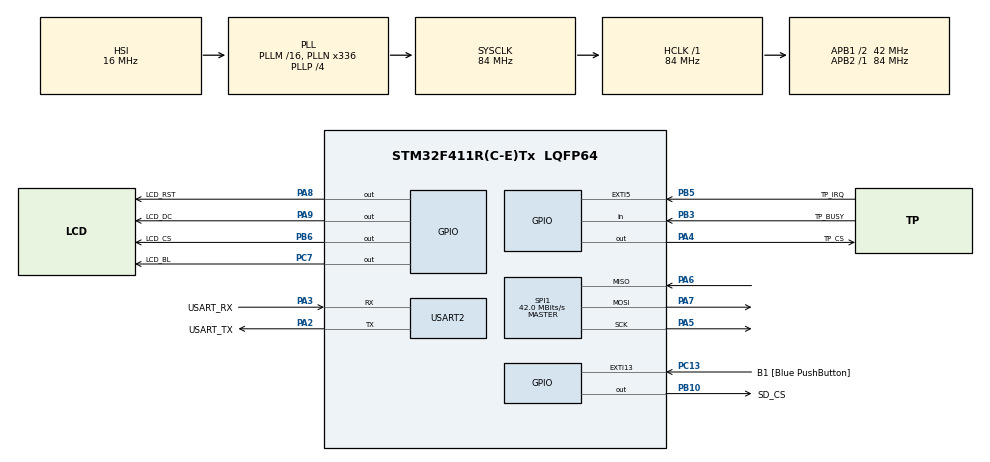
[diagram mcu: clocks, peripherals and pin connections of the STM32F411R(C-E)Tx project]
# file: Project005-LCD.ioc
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Mcu.Family=STM32F4
Mcu.Name=STM32F411R(C-E)Tx
Mcu.Package=LQFP64
NVIC.EXTI9_5_IRQn=true\:0\:0\:false\:false\:true\:true\:true\:true
NVIC.PriorityGroup=NVIC_PRIORITYGROUP_0
NVIC.TIM3_IRQn=true\:0\:0\:false\:false\:true\:true\:true\:true
NVIC.USART2_IRQn=true\:0\:0\:false\:false\:true\:true\:true\:true
PA13.GPIO_Label=TMS
PA13.Signal=SYS_JTMS-SWDIO
PA14.GPIO_Label=TCK
PA14.Signal=SYS_JTCK-SWCLK
PA2.GPIO_Label=USART_TX
PA2.Mode=Asynchronous
PA2.Signal=USART2_TX
PA3.GPIO_Label=USART_RX
PA3.Mode=Asynchronous
PA3.Signal=USART2_RX
PA4.GPIO_Label=TP_CS
PA4.Signal=GPIO_Output
PA5.Mode=Full_Duplex_Master
PA5.Signal=SPI1_SCK
PA6.Mode=Full_Duplex_Master
PA6.Signal=SPI1_MISO
PA7.Mode=Full_Duplex_Master
PA7.Signal=SPI1_MOSI
PA8.GPIO_Label=LCD_RST
PA8.Signal=GPIO_Output
PA9.GPIO_Label=LCD_DC
PA9.Signal=GPIO_Output
PB10.GPIO_Label=SD_CS
PB10.Signal=GPIO_Output
PB3.GPIO_Label=TP_BUSY
PB3.Signal=GPIO_Input
PB5.GPIO_Label=TP_IRQ
PB5.GPIO_ModeDefaultEXTI=GPIO_MODE_IT_RISING_FALLING
PB5.Signal=GPXTI5
PB6.GPIO_Label=LCD_CS
PB6.Signal=GPIO_Output
PC13-ANTI_TAMP.GPIO_Label=B1 [Blue PushButton]
PC13-ANTI_TAMP.GPIO_ModeDefaultEXTI=GPIO_MODE_IT_FALLING
PC13-ANTI_TAMP.Signal=GPXTI13
PC14-OSC32_IN.Signal=RCC_OSC32_IN
PC15-OSC32_OUT.Signal=RCC_OSC32_OUT
PC7.GPIO_Label=LCD_BL
PC7.Signal=GPIO_Output
PH0\ -\ OSC_IN.Signal=RCC_OSC_IN
PH1\ -\ OSC_OUT.Signal=RCC_OSC_OUT
ProjectManager.HeapSize=0x200
ProjectManager.StackSize=0x400
ProjectManager.TargetToolchain=STM32CubeIDE
RCC.48MHZClocksFreq_Value=84000000
RCC.AHBFreq_Value=84000000
RCC.APB1CLKDivider=RCC_HCLK_DIV2
RCC.APB1Freq_Value=42000000
RCC.APB1TimFreq_Value=84000000
RCC.APB2Freq_Value=84000000
RCC.APB2TimFreq_Value=84000000
RCC.CortexFreq_Value=84000000
RCC.FLatency-AdvancedSettings=FLASH_LATENCY_2
RCC.HCLKFreq_Value=84000000
RCC.HSE_VALUE=8000000
RCC.HSI_VALUE=16000000
RCC.LSE_VALUE=32768
RCC.PLLN=336
RCC.PLLP=RCC_PLLP_DIV4
RCC.SYSCLKFreq_VALUE=84000000
RCC.SYSCLKSource=RCC_SYSCLKSOURCE_PLLCLK
RCC.VCOOutputFreq_Value=336000000
SPI1.CalculateBaudRate=42.0 MBits/s
SPI1.Direction=SPI_DIRECTION_2LINES
SPI1.Mode=SPI_MODE_MASTER
SPI1.VirtualType=VM_MASTER
TIM3.Period=10000-1
TIM3.Prescaler=8400-1
USART2.VirtualMode=VM_ASYNC
VP_TIM3_VS_ClockSourceINT.Mode=Internal
board=NUCLEO-F411RE

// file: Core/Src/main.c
/* USER CODE BEGIN Header */
/**
  ******************************************************************************
  * @file           : main.c
  * @brief          : Main program body
  ******************************************************************************
  * @attention
  *
  * Copyright (c) 2025 STMicroelectronics.
  * All rights reserved.
  *
  * This software is licensed under terms that can be found in the LICENSE file
  * in the root directory of this software component.
  * If no LICENSE file comes with this software, it is provided AS-IS.
  *
  ******************************************************************************
  */
/* USER CODE END Header */
#include "main.h"

/* USER CODE BEGIN Includes */

#include "lcd_driver.h"
#include "lcd_gui.h"
#include "lcd_touch.h"
#include <stdbool.h>
#include <stdio.h>
#include <string.h>

bool screenState = false;

int cur_Button;
void Load_Touch_Draw(void)
{
    LCD_Clear(BACKGROUND_COLOR);

    if(screenState == false) {

        Gui_fill_color(0, 0, lcddev.width, lcddev.height / 3, BLUE);
        Gui_draw_str(30, 50, "The First Clinic", &Font24, RED, BLUE);

        Gui_fill_color(0, lcddev.height / 3, lcddev.width, lcddev.height * 2 / 3, GREEN);
        Gui_draw_str(30, lcddev.height / 3 + 50, "The Second Clinic", &Font24, RED, GREEN);

        Gui_fill_color(0, lcddev.height * 2 / 3, lcddev.width, lcddev.height, RED);
        Gui_draw_str(30, lcddev.height * 2 / 3 + 50, "Restroom", &Font24, WHITE, RED);
    }
    else
    {
        if (cur_Button == 1) {
            Gui_fill_color(0, 0, lcddev.width, lcddev.height, BLUE);
            Gui_draw_str(30, lcddev.height / 2, "Going to the First Clinic", &Font24, BLACK, WHITE);
        } else if (cur_Button == 2) {
            Gui_fill_color(0, 0, lcddev.width, lcddev.height, GREEN);
            Gui_draw_str(30, lcddev.height / 2, "Going to the Second Clinic", &Font24, BLACK, WHITE);
        } else if (cur_Button == 3) {
            Gui_fill_color(0, 0, lcddev.width, lcddev.height, RED);
            Gui_draw_str(30, lcddev.height / 2, "Going to the Restroom", &Font24, BLACK, WHITE);
        }

        Gui_fill_color(10, 65, 90, 100, BLACK);
        Gui_draw_str(10, 70, "Back", &Font24, WHITE, BLACK);
    }
}

void TP_test(void)
{
    TP_Scan(0);

    if (tp_dev.statu & TP_PRESS_DOWN) {
        if (tp_dev.x[0] < lcddev.width && tp_dev.y[0] < lcddev.height) {
            if (!screenState) {

                if (tp_dev.x[0] > 0 && tp_dev.x[0] < lcddev.width && tp_dev.y[0] > 0 && tp_dev.y[0] < lcddev.height / 3) {
                    printf("The First Clinic Pressed\n");
                    screenState = true;
                    cur_Button = 1;
                    Load_Touch_Draw();
                    HAL_Delay(500);
                }

                else if (tp_dev.x[0] > 0 && tp_dev.x[0] < lcddev.width && tp_dev.y[0] > lcddev.height / 3 && tp_dev.y[0] < lcddev.height * 2 / 3) {
                    printf("The Second Clinic Pressed\n");
                    screenState = true;
                    cur_Button = 2;
                    Load_Touch_Draw();
                    HAL_Delay(500);
                }

                else if (tp_dev.x[0] > 0 && tp_dev.x[0] < lcddev.width && tp_dev.y[0] > lcddev.height * 2 / 3 && tp_dev.y[0] < lcddev.height) {
                    printf("Restroom Pressed\n");
                    screenState = true;
                    cur_Button = 3;
                    Load_Touch_Draw();
                    HAL_Delay(500);
                }
            } else {

                if (tp_dev.x[0]>10 && tp_dev.x[0]<90 && tp_dev.y[0]>60 && tp_dev.y[0]<100) {
                    printf("Back Pressed\n");
                    screenState = false;
                    Load_Touch_Draw();
                }
            }
        }
    }
}

/* USER CODE END Includes */

SPI_HandleTypeDef hspi1;

TIM_HandleTypeDef htim3;

UART_HandleTypeDef huart2;

void SystemClock_Config(void);
static void MX_GPIO_Init(void);
static void MX_TIM3_Init(void);
static void MX_SPI1_Init(void);
static void MX_USART2_UART_Init(void);

int main(void)
{

  /* MCU Configuration--------------------------------------------------------*/

  /* Reset of all peripherals, Initializes the Flash interface and the Systick. */
  HAL_Init();

  /* Configure the system clock */
  SystemClock_Config();

  /* Initialize all configured peripherals */
  MX_GPIO_Init();
  MX_TIM3_Init();
  MX_SPI1_Init();
  MX_USART2_UART_Init();
  /* USER CODE BEGIN 2 */

  printf("4Inch LCD Init...\r\n");

  TP_Init();
  Lcd_Init();

  HAL_Delay(2000);

  printf("Init Touch Pad...\r\n");
  Load_Touch_Draw();

  /* USER CODE END 2 */

  /* Infinite loop */
  /* USER CODE BEGIN WHILE */
  ProgramStart("LCD Test...");
  HAL_TIM_Base_Start(&htim3);
  HAL_TIM_Base_Start_IT(&htim3);
  while (1)
  {
    /* USER CODE END WHILE */

    /* USER CODE BEGIN 3 */
	  TP_test();
  }
  /* USER CODE END 3 */
}

void SystemClock_Config(void)
{
  RCC_OscInitTypeDef RCC_OscInitStruct = {0};
  RCC_ClkInitTypeDef RCC_ClkInitStruct = {0};

  /** Configure the main internal regulator output voltage
  */
  __HAL_RCC_PWR_CLK_ENABLE();
  __HAL_PWR_VOLTAGESCALING_CONFIG(PWR_REGULATOR_VOLTAGE_SCALE1);

  /** Initializes the RCC Oscillators according to the specified parameters
  * in the RCC_OscInitTypeDef structure.
  */
  RCC_OscInitStruct.OscillatorType = RCC_OSCILLATORTYPE_HSI;
  RCC_OscInitStruct.HSIState = RCC_HSI_ON;
  RCC_OscInitStruct.HSICalibrationValue = RCC_HSICALIBRATION_DEFAULT;
  RCC_OscInitStruct.PLL.PLLState = RCC_PLL_ON;
  RCC_OscInitStruct.PLL.PLLSource = RCC_PLLSOURCE_HSI;
  RCC_OscInitStruct.PLL.PLLM = 16;
  RCC_OscInitStruct.PLL.PLLN = 336;
  RCC_OscInitStruct.PLL.PLLP = RCC_PLLP_DIV4;
  RCC_OscInitStruct.PLL.PLLQ = 4;
  if (HAL_RCC_OscConfig(&RCC_OscInitStruct) != HAL_OK)
  {
    Error_Handler();
  }

  /** Initializes the CPU, AHB and APB buses clocks
  */
  RCC_ClkInitStruct.ClockType = RCC_CLOCKTYPE_HCLK|RCC_CLOCKTYPE_SYSCLK
                              |RCC_CLOCKTYPE_PCLK1|RCC_CLOCKTYPE_PCLK2;
  RCC_ClkInitStruct.SYSCLKSource = RCC_SYSCLKSOURCE_PLLCLK;
  RCC_ClkInitStruct.AHBCLKDivider = RCC_SYSCLK_DIV1;
  RCC_ClkInitStruct.APB1CLKDivider = RCC_HCLK_DIV2;
  RCC_ClkInitStruct.APB2CLKDivider = RCC_HCLK_DIV1;

  if (HAL_RCC_ClockConfig(&RCC_ClkInitStruct, FLASH_LATENCY_2) != HAL_OK)
  {
    Error_Handler();
  }
}

static void MX_SPI1_Init(void)
{

  /* SPI1 parameter configuration*/
  hspi1.Instance = SPI1;
  hspi1.Init.Mode = SPI_MODE_MASTER;
  hspi1.Init.Direction = SPI_DIRECTION_2LINES;
  hspi1.Init.DataSize = SPI_DATASIZE_8BIT;
  hspi1.Init.CLKPolarity = SPI_POLARITY_LOW;
  hspi1.Init.CLKPhase = SPI_PHASE_1EDGE;
  hspi1.Init.NSS = SPI_NSS_SOFT;
  hspi1.Init.BaudRatePrescaler = SPI_BAUDRATEPRESCALER_2;
  hspi1.Init.FirstBit = SPI_FIRSTBIT_MSB;
  hspi1.Init.TIMode = SPI_TIMODE_DISABLE;
  hspi1.Init.CRCCalculation = SPI_CRCCALCULATION_DISABLE;
  hspi1.Init.CRCPolynomial = 10;
  if (HAL_SPI_Init(&hspi1) != HAL_OK)
  {
    Error_Handler();
  }

}

static void MX_TIM3_Init(void)
{

  TIM_ClockConfigTypeDef sClockSourceConfig = {0};
  TIM_MasterConfigTypeDef sMasterConfig = {0};

  htim3.Instance = TIM3;
  htim3.Init.Prescaler = 8400-1;
  htim3.Init.CounterMode = TIM_COUNTERMODE_UP;
  htim3.Init.Period = 10000-1;
  htim3.Init.ClockDivision = TIM_CLOCKDIVISION_DIV1;
  htim3.Init.AutoReloadPreload = TIM_AUTORELOAD_PRELOAD_DISABLE;
  if (HAL_TIM_Base_Init(&htim3) != HAL_OK)
  {
    Error_Handler();
  }
  sClockSourceConfig.ClockSource = TIM_CLOCKSOURCE_INTERNAL;
  if (HAL_TIM_ConfigClockSource(&htim3, &sClockSourceConfig) != HAL_OK)
  {
    Error_Handler();
  }
  sMasterConfig.MasterOutputTrigger = TIM_TRGO_RESET;
  sMasterConfig.MasterSlaveMode = TIM_MASTERSLAVEMODE_DISABLE;
  if (HAL_TIMEx_MasterConfigSynchronization(&htim3, &sMasterConfig) != HAL_OK)
  {
    Error_Handler();
  }

}

static void MX_USART2_UART_Init(void)
{

  huart2.Instance = USART2;
  huart2.Init.BaudRate = 115200;
  huart2.Init.WordLength = UART_WORDLENGTH_8B;
  huart2.Init.StopBits = UART_STOPBITS_1;
  huart2.Init.Parity = UART_PARITY_NONE;
  huart2.Init.Mode = UART_MODE_TX_RX;
  huart2.Init.HwFlowCtl = UART_HWCONTROL_NONE;
  huart2.Init.OverSampling = UART_OVERSAMPLING_16;
  if (HAL_UART_Init(&huart2) != HAL_OK)
  {
    Error_Handler();
  }

}

static void MX_GPIO_Init(void)
{
  GPIO_InitTypeDef GPIO_InitStruct = {0};

  /* GPIO Ports Clock Enable */
  __HAL_RCC_GPIOC_CLK_ENABLE();
  __HAL_RCC_GPIOH_CLK_ENABLE();
  __HAL_RCC_GPIOA_CLK_ENABLE();
  __HAL_RCC_GPIOB_CLK_ENABLE();

  /*Configure GPIO pin Output Level */
  HAL_GPIO_WritePin(GPIOA, TP_CS_Pin|LCD_RST_Pin|LCD_DC_Pin, GPIO_PIN_RESET);

  /*Configure GPIO pin Output Level */
  HAL_GPIO_WritePin(GPIOB, SD_CS_Pin|LCD_CS_Pin, GPIO_PIN_RESET);

  /*Configure GPIO pin Output Level */
  HAL_GPIO_WritePin(LCD_BL_GPIO_Port, LCD_BL_Pin, GPIO_PIN_RESET);

  /*Configure GPIO pin : B1_Pin */
  GPIO_InitStruct.Pin = B1_Pin;
  GPIO_InitStruct.Mode = GPIO_MODE_IT_FALLING;
  GPIO_InitStruct.Pull = GPIO_NOPULL;
  HAL_GPIO_Init(B1_GPIO_Port, &GPIO_InitStruct);

  /*Configure GPIO pins : TP_CS_Pin LCD_RST_Pin LCD_DC_Pin */
  GPIO_InitStruct.Pin = TP_CS_Pin|LCD_RST_Pin|LCD_DC_Pin;
  GPIO_InitStruct.Mode = GPIO_MODE_OUTPUT_PP;
  GPIO_InitStruct.Pull = GPIO_NOPULL;
  GPIO_InitStruct.Speed = GPIO_SPEED_FREQ_LOW;
  HAL_GPIO_Init(GPIOA, &GPIO_InitStruct);

  /*Configure GPIO pins : SD_CS_Pin LCD_CS_Pin */
  GPIO_InitStruct.Pin = SD_CS_Pin|LCD_CS_Pin;
  GPIO_InitStruct.Mode = GPIO_MODE_OUTPUT_PP;
  GPIO_InitStruct.Pull = GPIO_NOPULL;
  GPIO_InitStruct.Speed = GPIO_SPEED_FREQ_LOW;
  HAL_GPIO_Init(GPIOB, &GPIO_InitStruct);

  /*Configure GPIO pin : LCD_BL_Pin */
  GPIO_InitStruct.Pin = LCD_BL_Pin;
  GPIO_InitStruct.Mode = GPIO_MODE_OUTPUT_PP;
  GPIO_InitStruct.Pull = GPIO_NOPULL;
  GPIO_InitStruct.Speed = GPIO_SPEED_FREQ_LOW;
  HAL_GPIO_Init(LCD_BL_GPIO_Port, &GPIO_InitStruct);

  /*Configure GPIO pin : TP_BUSY_Pin */
  GPIO_InitStruct.Pin = TP_BUSY_Pin;
  GPIO_InitStruct.Mode = GPIO_MODE_INPUT;
  GPIO_InitStruct.Pull = GPIO_NOPULL;
  HAL_GPIO_Init(TP_BUSY_GPIO_Port, &GPIO_InitStruct);

  /*Configure GPIO pin : TP_IRQ_Pin */
  GPIO_InitStruct.Pin = TP_IRQ_Pin;
  GPIO_InitStruct.Mode = GPIO_MODE_IT_RISING_FALLING;
  GPIO_InitStruct.Pull = GPIO_NOPULL;
  HAL_GPIO_Init(TP_IRQ_GPIO_Port, &GPIO_InitStruct);

  /* EXTI interrupt init*/
  HAL_NVIC_SetPriority(EXTI9_5_IRQn, 0, 0);
  HAL_NVIC_EnableIRQ(EXTI9_5_IRQn);

}

void Error_Handler(void)
{
  __disable_irq();
  while (1)
  {
  }
}
